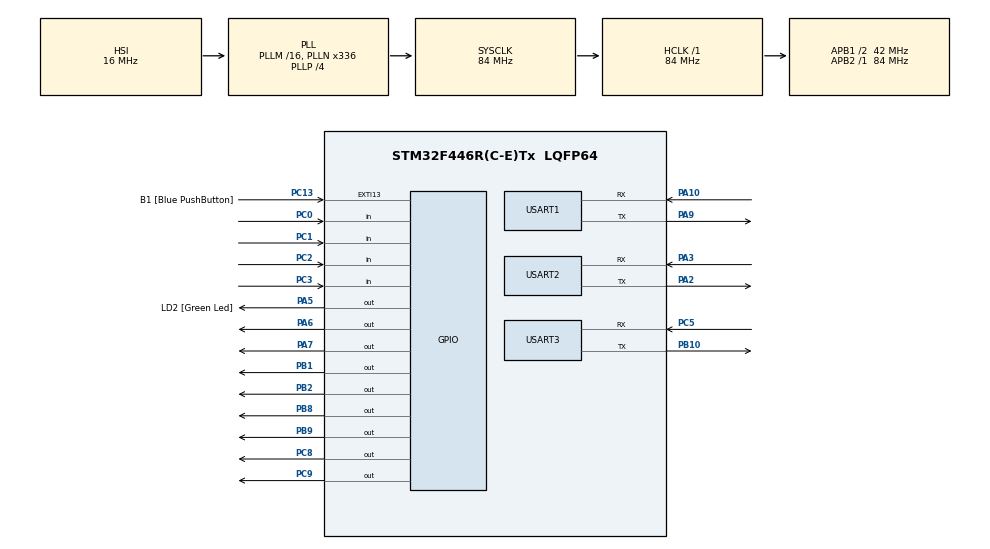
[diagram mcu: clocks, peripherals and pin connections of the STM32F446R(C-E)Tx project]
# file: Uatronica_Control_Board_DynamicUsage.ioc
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Mcu.Family=STM32F4
Mcu.Name=STM32F446R(C-E)Tx
Mcu.Package=LQFP64
NVIC.PriorityGroup=NVIC_PRIORITYGROUP_0
NVIC.USART1_IRQn=true\:0\:0\:false\:false\:true\:true\:true\:true
NVIC.USART2_IRQn=true\:0\:0\:false\:false\:true\:true\:true\:true
NVIC.USART3_IRQn=true\:0\:0\:false\:false\:true\:true\:true\:true
PA10.Mode=Asynchronous
PA10.Signal=USART1_RX
PA13.GPIO_Label=TMS
PA13.Mode=Serial_Wire
PA13.Signal=SYS_JTMS-SWDIO
PA14.GPIO_Label=TCK
PA14.Mode=Serial_Wire
PA14.Signal=SYS_JTCK-SWCLK
PA2.Mode=Asynchronous
PA2.Signal=USART2_TX
PA3.Mode=Asynchronous
PA3.Signal=USART2_RX
PA5.GPIO_Label=LD2 [Green Led]
PA5.Signal=GPIO_Output
PA6.Signal=GPIO_Output
PA7.Signal=GPIO_Output
PA9.Mode=Asynchronous
PA9.Signal=USART1_TX
PB1.Signal=GPIO_Output
PB10.Mode=Asynchronous
PB10.Signal=USART3_TX
PB2.Signal=GPIO_Output
PB3.GPIO_Label=SWO
PB3.Signal=SYS_JTDO-SWO
PB8.Signal=GPIO_Output
PB9.Signal=GPIO_Output
PC0.Signal=GPIO_Input
PC1.Signal=GPIO_Input
PC13.GPIO_Label=B1 [Blue PushButton]
PC13.GPIO_ModeDefaultEXTI=GPIO_MODE_IT_FALLING
PC13.Signal=GPXTI13
PC14-OSC32_IN.Mode=LSE-External-Oscillator
PC14-OSC32_IN.Signal=RCC_OSC32_IN
PC15-OSC32_OUT.Mode=LSE-External-Oscillator
PC15-OSC32_OUT.Signal=RCC_OSC32_OUT
PC2.Signal=GPIO_Input
PC3.Signal=GPIO_Input
PC5.Mode=Asynchronous
PC5.Signal=USART3_RX
PC8.Signal=GPIO_Output
PC9.Signal=GPIO_Output
PH0-OSC_IN.Mode=HSE-External-Oscillator
PH0-OSC_IN.Signal=RCC_OSC_IN
PH1-OSC_OUT.Mode=HSE-External-Oscillator
PH1-OSC_OUT.Signal=RCC_OSC_OUT
ProjectManager.HeapSize=0x200
ProjectManager.StackSize=0x400
ProjectManager.TargetToolchain=STM32CubeIDE
RCC.48MHZClocksFreq_Value=84000000
RCC.AHBFreq_Value=84000000
RCC.APB1CLKDivider=RCC_HCLK_DIV2
RCC.APB1Freq_Value=42000000
RCC.APB1TimFreq_Value=84000000
RCC.APB2Freq_Value=84000000
RCC.APB2TimFreq_Value=84000000
RCC.CortexFreq_Value=84000000
RCC.FLatency-AdvancedSettings=FLASH_LATENCY_2
RCC.HCLKFreq_Value=84000000
RCC.HSE_VALUE=8000000
RCC.HSI_VALUE=16000000
RCC.PLLN=336
RCC.PLLP=RCC_PLLP_DIV4
RCC.SYSCLKFreq_VALUE=84000000
RCC.SYSCLKSource=RCC_SYSCLKSOURCE_PLLCLK
RCC.USBFreq_Value=168000000
RCC.VCOOutputFreq_Value=336000000
USART1.VirtualMode=VM_ASYNC
USART2.VirtualMode=VM_ASYNC
USART3.VirtualMode=VM_ASYNC
board=NUCLEO-F446RE

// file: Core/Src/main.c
/* USER CODE BEGIN Header */
/**
  ******************************************************************************
  * @file           : main.c
  * @brief          : Main program body
  ******************************************************************************
  * @attention
  *
  * Copyright (c) 2025 STMicroelectronics.
  * All rights reserved.
  *
  * This software is licensed under terms that can be found in the LICENSE file
  * in the root directory of this software component.
  * If no LICENSE file comes with this software, it is provided AS-IS.
  *
  ******************************************************************************
  */
/* USER CODE END Header */
#include "main.h"

/* USER CODE BEGIN Includes */
#include <string.h>
#include <stdio.h>
#include <stdlib.h>
#include <stdbool.h>
#include <ctype.h>
/* USER CODE END Includes */

/* USER CODE BEGIN PD */
#define RX_BUFFER_SIZE 100
#define MAX_INPUT_PINS 10
#define MAX_OUTPUT_PINS 10
#define MAX_RESET_PINS 10
#define T_DELAY 100
/* USER CODE END PD */

UART_HandleTypeDef huart1;
UART_HandleTypeDef huart2;
UART_HandleTypeDef huart3;

/* USER CODE BEGIN PV */

// Structure to define an input pin configuration
typedef struct {
    GPIO_TypeDef *port; // Pointer to the GPIO port (e.g., GPIOA, GPIOB, GPIOC)
    uint16_t pin;       // Pin number as a bitmask (e.g., 1 << 0 for PIN_0)
} InputPin;

InputPin input_pins[MAX_INPUT_PINS]; // Array to hold the configurations of input pins
uint8_t num_input_pins = 0;          // Counter to track the number of configured input pins

// Structure to define an output pin configuration
typedef struct {
    GPIO_TypeDef *port; // Pointer to the GPIO port (e.g., GPIOA, GPIOB, GPIOC)
    uint16_t pin;       // Pin number as a bitmask (e.g., 1 << 0 for PIN_0)
} OutputPin;

OutputPin output_pins[MAX_OUTPUT_PINS]; // Array to hold the configurations of output pins
uint8_t num_output_pins = 0;  // Counter to track the number of configured output pins.

// Buffers to store a single character received via UART for USART1, USART2, and USART3
char rx_buffer1[1], rx_buffer2[1], rx_buffer3[1];

// Command buffers to store received commands for each UART instance
char command_buffer1[RX_BUFFER_SIZE], command_buffer2[RX_BUFFER_SIZE], command_buffer3[RX_BUFFER_SIZE];

// Flags to indicate when a complete command has been received for each UART instance
volatile uint8_t command_ready_flag1 = 0, command_ready_flag2 = 0, command_ready_flag3 = 0;

/* USER CODE END PV */

void SystemClock_Config(void);
static void MX_GPIO_Init(void);
static void MX_USART3_UART_Init(void);
static void MX_USART1_UART_Init(void);
static void MX_USART2_UART_Init(void);

/* USER CODE BEGIN PFP */

void HAL_UART_RxCpltCallback(UART_HandleTypeDef *huart); // Callback function triggered when UART receive interrupt is complete.
void configure_input_pins(char *command); // Function to configure GPIO pins as inputs based on the given command string.
void configure_output_pins(UART_HandleTypeDef *huart, char *command); // Function to configure GPIO pins as outputs based on the given command string.
void process_command(char *command, UART_HandleTypeDef *huart); // Function to process a received command and perform the appropriate action.

/* USER CODE END PFP */

/* USER CODE BEGIN 0 */

// NEED TO INCREASE A BETTER PERFOMANCE SPEED!!!

/**
 * @brief UART receive complete callback.
 *
 * This function is called when a UART receive interrupt is triggered. It processes the incoming character,
 * appends it to the appropriate command buffer, and sets the corresponding ready flag when a newline ('\n')
 * or carriage return ('\r') is received, indicating the end of a command.
 *
 * Behavior:
 * - Handles interrupts for USART1, USART2, and USART3 separately.
 * - Adds characters to the appropriate buffer until a complete command is detected.
 * - Resets the buffer index when the buffer overflows or a command is completed.
 * - Re-enables the UART receive interrupt after processing each character.
 *
 * @param huart Pointer to the UART handle that triggered the interrupt.
 */
void HAL_UART_RxCpltCallback(UART_HandleTypeDef *huart)
{
    // Static variables to maintain the buffer indices for each UART
    static uint8_t rx_index1 = 0, rx_index2 = 0, rx_index3 = 0;

    // Check which UART triggered the interrupt
    if (huart->Instance == USART1) {
        // Handle received character for USART1
        char received_char = rx_buffer1[0];
        if (received_char == '\n' || received_char == '\r') {
            // Command complete; null-terminate the buffer and set the ready flag
            command_buffer1[rx_index1] = '\0';
            command_ready_flag1 = 1;
            rx_index1 = 0; // Reset the index for the next command
        } else if (rx_index1 < RX_BUFFER_SIZE - 1) {
            // Append the character to the buffer if there's space
            command_buffer1[rx_index1++] = received_char;
        }
        // Re-enable UART receive interrupt for USART1
        HAL_UART_Receive_IT(&huart1, (uint8_t *)rx_buffer1, 1);

    } else if (huart->Instance == USART2) {
        // Handle received character for USART2
        char received_char = rx_buffer2[0];
        if (received_char == '\n' || received_char == '\r') {
            // Command complete; null-terminate the buffer and set the ready flag
            command_buffer2[rx_index2] = '\0';
            command_ready_flag2 = 1;
            rx_index2 = 0; // Reset the index for the next command
        } else if (rx_index2 < RX_BUFFER_SIZE - 1) {
            // Append the character to the buffer if there's space
            command_buffer2[rx_index2++] = received_char;
        }
        // Re-enable UART receive interrupt for USART2
        HAL_UART_Receive_IT(&huart2, (uint8_t *)rx_buffer2, 1);

    } else if (huart->Instance == USART3) {
        // Handle received character for USART3
        char received_char = rx_buffer3[0];
        if (received_char == '\n' || received_char == '\r') {
            // Command complete; null-terminate the buffer and set the ready flag
            command_buffer3[rx_index3] = '\0';
            command_ready_flag3 = 1;
            rx_index3 = 0; // Reset the index for the next command
        } else if (rx_index3 < RX_BUFFER_SIZE - 1) {
            // Append the character to the buffer if there's space
            command_buffer3[rx_index3++] = received_char;
        }
        // Re-enable UART receive interrupt for USART3
        HAL_UART_Receive_IT(&huart3, (uint8_t *)rx_buffer3, 1);
    }
}

/**
 * @brief Configures GPIO pins for input or output based on the command.
 *
 * This function parses a command string to identify and configure GPIO pins as either input or output.
 * It validates the provided command for the correct format and range of pins. If the command specifies
 * output pins, their state is set accordingly.
 *
 * Function behavior:
 * - For "d <pins>": Configures the specified pins as input.
 * - For "sX <pins>": Configures the pins as output and sets their state based on X ('1' for HIGH, '0' for LOW).
 * - Provides error feedback for invalid commands or pin configurations.
 *
 * Return Values:
 * - `1`: Successfully configured pins.
 * - `-1`: Invalid state provided in the command (e.g., non-'0' or non-'1' for output state).
 * - `-2`: Unrecognized command prefix (neither 'd' nor 's').
 * - `-3`: Invalid port, format, or pin.
 * - `-4`: Invalid pin number (out of range 0-15).
 *
 * @param huart   UART handle for transmitting confirmation or error messages.
 * @param command The command string specifying the operation and pins (e.g., "d PA3 PB5").
 * @return int    Status code indicating the result of the operation.
 */
int configure_pins(UART_HandleTypeDef *huart, char *command)
{
    uint8_t *num_pins = NULL;           // Pointer to track the number of configured pins
    void *pins_array = NULL;            // Pointer to the target pins array
    uint8_t max_pins = 0;               // Maximum pins allowed for the operation
    char state = '\0';                  // State for output pins (used for `s` commands)

    // Determine the type of configuration based on the command prefix
    if (strncmp(command, "d ", 2) == 0) {
        num_pins = &num_input_pins;
        pins_array = input_pins;
        //operation = "Input";
        max_pins = MAX_INPUT_PINS;
        command += 2; // Skip "d " prefix
    } else if (strncmp(command, "s", 1) == 0) {
        num_pins = &num_output_pins;
        pins_array = output_pins;
        //operation = "Output";
        max_pins = MAX_OUTPUT_PINS;
        state = command[1]; // Extract state ('1' or '0')

        // Validate state
        if (state != '1' && state != '0') {
            HAL_UART_Transmit(huart, (uint8_t *)"Invalid State\n", 15, HAL_MAX_DELAY);
            return -1;
        }
        command += 2; // Skip "sX " prefix
    } else {
        // Unknown command
        HAL_UART_Transmit(huart, (uint8_t *)"Unknown Command\n", 17, HAL_MAX_DELAY);
        return -2;
    }

    // Reset the pin list for the operation
    *num_pins = 0;

    // Tokenize the command to extract pin configurations
    char *token = strtok(command, " ");
    while (token && *num_pins < max_pins) {
        // Validate port and pin format
        if ((strncmp(token, "PA", 2) != 0 && strncmp(token, "PB", 2) != 0 && strncmp(token, "PC", 2) != 0) ||
            strlen(token) < 3 || strlen(token) > 4) {
            HAL_UART_Transmit(huart, (uint8_t *)"Invalid Port or Format\n", 24, HAL_MAX_DELAY);
            return -3;
        }

        // Extract port
        GPIO_TypeDef *port = NULL;
        if (strncmp(token, "PA", 2) == 0) {
            port = GPIOA;
        } else if (strncmp(token, "PB", 2) == 0) {
            port = GPIOB;
        } else if (strncmp(token, "PC", 2) == 0) {
            port = GPIOC;
        }

        // Validate pin number (digits only)
        char *pin_str = token + 2; // Skip "PA", "PB", or "PC"
        for (char *c = pin_str; *c; c++) {
            if (!isdigit(*c)) {
                HAL_UART_Transmit(huart, (uint8_t *)"Invalid Pin Format\n", 20, HAL_MAX_DELAY);
                return -3;
            }
        }

        // Convert pin number to integer and validate range
        uint8_t pin_number = atoi(pin_str);
        if (pin_number > 15) {
            HAL_UART_Transmit(huart, (uint8_t *)"Invalid Pin Number\n", 20, HAL_MAX_DELAY);
            return -4;
        }

        // Add the pin to the respective array
        if (port) {
            ((InputPin *)pins_array)[*num_pins].port = port;
            ((InputPin *)pins_array)[*num_pins].pin = 1 << pin_number;
            (*num_pins)++;
        }

        token = strtok(NULL, " ");
    }

    // Send confirmation message
    /*char confirmation_msg[50];
    snprintf(confirmation_msg, sizeof(confirmation_msg), "%s Pins Configured\n", operation);
    HAL_UART_Transmit(huart, (uint8_t *)confirmation_msg, strlen(confirmation_msg), HAL_MAX_DELAY);
    */
    return 1;
}

/**
 * @brief Handles the input pins and sends their states via UART.
 *
 * This function iterates through all configured input pins, reads their current
 * states (SET or RESET), and sends a formatted message for each pin through UART.
 * It dynamically determines the port name (PA, PB, or PC) and includes it in the
 * response for clarity.
 *
 * Function behavior:
 * - Iterates through the `input_pins` array.
 * - Reads the state of each input pin using `HAL_GPIO_ReadPin`.
 * - Dynamically determines the port name based on the `port` pointer in the `input_pins` array.
 * - Formats a response string with the pin's port, number, and state (SET or RESET).
 * - Sends the response via UART using the provided UART handle.
 *
 * @param huart UART handle used for transmitting the response messages.
 */
void handle_inputs(UART_HandleTypeDef *huart)
{
    // Iterate through all configured input pins, excluding the last pin (to avoid out-of-bounds access)
    for (uint8_t i = 0; i < num_input_pins - 1; i++) {
        // Read the current states of two consecutive input pins
        GPIO_PinState state = HAL_GPIO_ReadPin(input_pins[i].port, input_pins[i].pin);
        GPIO_PinState state_2 = HAL_GPIO_ReadPin(input_pins[i + 1].port, input_pins[i + 1].pin);
       // char response[30];
       // char response_2[30];

        // Evaluate the combined state of the two pins and transmit the result
        if (state == GPIO_PIN_SET) {
            if (state_2 == GPIO_PIN_SET) {
                HAL_UART_Transmit(huart, (uint8_t *)"3", 1, T_DELAY);
            } else if (state_2 == GPIO_PIN_RESET) {
                HAL_UART_Transmit(huart, (uint8_t *)"2", 1, T_DELAY);
            }
        } else if (state == GPIO_PIN_RESET) {
            if (state_2 == GPIO_PIN_SET) {
                HAL_UART_Transmit(huart, (uint8_t *)"1", 1, T_DELAY);
            } else if (state_2 == GPIO_PIN_RESET) {
                HAL_UART_Transmit(huart, (uint8_t *)"0", 1, T_DELAY);
            }
        }
    }
}

/**
 * @brief Sets the state of all configured output pins and provides feedback via UART.
 *
 * This function iterates through the list of configured output pins, sets each pin to the
 * specified state (high or low), and counts the number of pins updated. After processing,
 * it transmits a confirmation message via UART, including the number of pins affected and
 * their new state.
 *
 * Function behavior:
 * - Iterates through the `output_pins` array and sets each pin's state based on the `state` parameter.
 * - Counts the total number of pins successfully updated.
 * - Constructs and transmits a message indicating the count of updated pins and their state.
 *
 * Feedback:
 * - Sends a confirmation message in the format: "<number> State Set - <HIGH/LOW>\n".
 * - The state is derived from the `state` parameter ('1' for HIGH, '0' for LOW).
 *
 * @param huart UART handle used for transmitting confirmation messages.
 * @param state The desired state for the output pins ('1' for high, '0' for low).
 */
void set_output(UART_HandleTypeDef *huart, char state)
{
    int counter = 0;                // Counter to track the number of configured pins
    //char message[50];               // Buffer to hold the UART message

    // Iterate through all configured output pins
    for (uint8_t i = 0; i < num_output_pins; i++) {
        // Retrieve the port and pin configuration for the current output pin
        GPIO_TypeDef *port = output_pins[i].port;
        uint16_t gpio_pin = output_pins[i].pin;

        // Set the pin state based on the provided state value
        if (state == '1') {
            // Set the pin to HIGH
            HAL_GPIO_WritePin(port, gpio_pin, GPIO_PIN_SET);
            counter++; // Increment the counter for successfully configured pins
        } else if (state == '0') {
            // Set the pin to LOW
            HAL_GPIO_WritePin(port, gpio_pin, GPIO_PIN_RESET);
            counter++; // Increment the counter for successfully configured pins
        }
    }

    // Construct the message with the counter and state
    // Transmit the constructed message via UART
    HAL_UART_Transmit(huart, (uint8_t *)"OK\n", 3, T_DELAY);
}

/**
 * @brief Processes and executes commands for GPIO pin configuration and control.
 *
 * This function interprets a received command string and performs actions such as
 * configuring GPIO pins as inputs or outputs, setting the state of output pins,
 * or resetting specific pins. It also validates the input and provides feedback
 * for invalid commands or configurations.
 *
 * Function behavior:
 * - Commands starting with 'd': Configures up to two input pins and processes their states.
 * - Commands starting with 's': Configures output pins, sets their states (high or low),
 *   and provides feedback on the number of pins configured.
 * - Commands with invalid formats or exceeding limits are rejected with appropriate error messages.
 * - Unrecognized commands return an "Unknown Command" message.
 *
 * Command validation:
 * - Ensures proper syntax, valid pin numbers, and acceptable command length for each type.
 * - Rejects malformed commands early to avoid unnecessary processing.
 *
 * @param command The command string received via UART, specifying the action and pins.
 * @param huart   UART handle used for transmitting confirmation, error, or status messages.
 */
void process_command(char *command, UART_HandleTypeDef *huart)
{
    // Check if the command is for configuring input pins (starts with 'd')
	if (strncmp(command, "d", 1) == 0) {
	    // Validate command length to ensure only 2 pins are being configured
	    if (strlen(command) < 9 || strlen(command) > 11) {
	        // If the command length is invalid, send an error message and exit
	        HAL_UART_Transmit(huart, (uint8_t *)"NOK\n", 4, T_DELAY);
	        return; // Exit without further processing
	    }

	    // Attempt to configure the input pins
	    int result_handle = configure_pins(huart, command);
	    if (result_handle == 1) {
	        // If configuration is successful, acknowledge with "OK"
	        //HAL_UART_Transmit(huart, (uint8_t *)"OK\n", 3, T_DELAY);
	        // Process and report the state of input pins
	        handle_inputs(huart);
	    } else if (result_handle < 0) {
	        // If configuration failed, send a "NOK" error message
	        HAL_UART_Transmit(huart, (uint8_t *)"NOK\n", 4, T_DELAY);
	    }

	}
    // Check if the command is for configuring output pins (starts with 's')
	else if (strncmp(command, "s", 1) == 0) {
    	// Attempt to configure the output pins
    	int result_set = configure_pins(huart, command);
    	if (result_set == 1) {
            // If configuration is successful, acknowledge with "OK"
            // HAL_UART_Transmit(huart, (uint8_t *)"OK\n", 3, HAL_MAX_DELAY);
    	} else if (result_set < 0) {
            // If configuration failed, send a "NOK" error message and exit
            HAL_UART_Transmit(huart, (uint8_t *)"NOK\n", 4, HAL_MAX_DELAY);
            return; // Exit without setting the output state
    	}

		// Extract the desired state ('1' for HIGH or '0' for LOW) from the command
		char state = command[1];
		// Apply the state to all configured output pins
		set_output(huart, state);

    }
	// Check if the command is for resetting all pins (starts with 'r')
	else if (strncmp(command, "r *", 3) == 0){

    	GPIOA->ODR = 0x00; // Reset PortA
    	GPIOB->ODR = 0x00; // Reset PortB
    	GPIOC->ODR = 0x00; // Reset PortC

    	// Confirmation message that all pins have been configured
    	HAL_UART_Transmit(huart, (uint8_t *)"OK\n", 3, T_DELAY);
    }
    // If the command does not match 'd' or 's', it is unrecognized
    else {
        // Send an error message indicating the command is unknown
        HAL_UART_Transmit(huart, (uint8_t *)"Unknown Command\n", 17, T_DELAY);
    }
}

/* USER CODE END 0 */

int main(void)
{

  /* MCU Configuration--------------------------------------------------------*/

  /* Reset of all peripherals, Initializes the Flash interface and the Systick. */
  HAL_Init();

  /* Configure the system clock */
  SystemClock_Config();

  /* Initialize all configured peripherals */
  MX_GPIO_Init();
  MX_USART3_UART_Init();
  MX_USART1_UART_Init();
  MX_USART2_UART_Init();

  /* USER CODE BEGIN 2 */

  // Initialize UART reception for USART1, USART2, and USART3 using interrupt mode.
  // This enables the system to receive data asynchronously for each UART.
  HAL_UART_Receive_IT(&huart1, (uint8_t *)rx_buffer1, 1); // Start receiving on USART1
  HAL_UART_Receive_IT(&huart2, (uint8_t *)rx_buffer2, 1); // Start receiving on USART2
  HAL_UART_Receive_IT(&huart3, (uint8_t *)rx_buffer3, 1); // Start receiving on USART3

  /* USER CODE END 2 */

  /* Infinite loop */
  while (1)
  {
      // Process command for USART1 if the ready flag is set
      if (command_ready_flag1) {
          process_command(command_buffer1, &huart1); // Process the command
          command_ready_flag1 = 0; // Reset the flag after processing
      }

      // Process command for USART2 if the ready flag is set
      if (command_ready_flag2) {
          process_command(command_buffer2, &huart2); // Process the command
          command_ready_flag2 = 0; // Reset the flag after processing
      }

      // Process command for USART3 if the ready flag is set
      if (command_ready_flag3) {
          process_command(command_buffer3, &huart3); // Process the command
          command_ready_flag3 = 0; // Reset the flag after processing
      }
  }
}

void SystemClock_Config(void)
{
  RCC_OscInitTypeDef RCC_OscInitStruct = {0};
  RCC_ClkInitTypeDef RCC_ClkInitStruct = {0};

  /** Configure the main internal regulator output voltage
  */
  __HAL_RCC_PWR_CLK_ENABLE();
  __HAL_PWR_VOLTAGESCALING_CONFIG(PWR_REGULATOR_VOLTAGE_SCALE3);

  /** Initializes the RCC Oscillators according to the specified parameters
  * in the RCC_OscInitTypeDef structure.
  */
  RCC_OscInitStruct.OscillatorType = RCC_OSCILLATORTYPE_HSI;
  RCC_OscInitStruct.HSIState = RCC_HSI_ON;
  RCC_OscInitStruct.HSICalibrationValue = RCC_HSICALIBRATION_DEFAULT;
  RCC_OscInitStruct.PLL.PLLState = RCC_PLL_ON;
  RCC_OscInitStruct.PLL.PLLSource = RCC_PLLSOURCE_HSI;
  RCC_OscInitStruct.PLL.PLLM = 16;
  RCC_OscInitStruct.PLL.PLLN = 336;
  RCC_OscInitStruct.PLL.PLLP = RCC_PLLP_DIV4;
  RCC_OscInitStruct.PLL.PLLQ = 2;
  RCC_OscInitStruct.PLL.PLLR = 2;
  if (HAL_RCC_OscConfig(&RCC_OscInitStruct) != HAL_OK)
  {
    Error_Handler();
  }

  /** Initializes the CPU, AHB and APB buses clocks
  */
  RCC_ClkInitStruct.ClockType = RCC_CLOCKTYPE_HCLK|RCC_CLOCKTYPE_SYSCLK
                              |RCC_CLOCKTYPE_PCLK1|RCC_CLOCKTYPE_PCLK2;
  RCC_ClkInitStruct.SYSCLKSource = RCC_SYSCLKSOURCE_PLLCLK;
  RCC_ClkInitStruct.AHBCLKDivider = RCC_SYSCLK_DIV1;
  RCC_ClkInitStruct.APB1CLKDivider = RCC_HCLK_DIV2;
  RCC_ClkInitStruct.APB2CLKDivider = RCC_HCLK_DIV1;

  if (HAL_RCC_ClockConfig(&RCC_ClkInitStruct, FLASH_LATENCY_2) != HAL_OK)
  {
    Error_Handler();
  }
}

static void MX_USART1_UART_Init(void)
{

  huart1.Instance = USART1;
  huart1.Init.BaudRate = 115200;
  huart1.Init.WordLength = UART_WORDLENGTH_8B;
  huart1.Init.StopBits = UART_STOPBITS_1;
  huart1.Init.Parity = UART_PARITY_NONE;
  huart1.Init.Mode = UART_MODE_TX_RX;
  huart1.Init.HwFlowCtl = UART_HWCONTROL_NONE;
  huart1.Init.OverSampling = UART_OVERSAMPLING_16;
  if (HAL_UART_Init(&huart1) != HAL_OK)
  {
    Error_Handler();
  }

}

static void MX_USART2_UART_Init(void)
{

  huart2.Instance = USART2;
  huart2.Init.BaudRate = 115200;
  huart2.Init.WordLength = UART_WORDLENGTH_8B;
  huart2.Init.StopBits = UART_STOPBITS_1;
  huart2.Init.Parity = UART_PARITY_NONE;
  huart2.Init.Mode = UART_MODE_TX_RX;
  huart2.Init.HwFlowCtl = UART_HWCONTROL_NONE;
  huart2.Init.OverSampling = UART_OVERSAMPLING_16;
  if (HAL_UART_Init(&huart2) != HAL_OK)
  {
    Error_Handler();
  }

}

static void MX_USART3_UART_Init(void)
{

  huart3.Instance = USART3;
  huart3.Init.BaudRate = 115200;
  huart3.Init.WordLength = UART_WORDLENGTH_8B;
  huart3.Init.StopBits = UART_STOPBITS_1;
  huart3.Init.Parity = UART_PARITY_NONE;
  huart3.Init.Mode = UART_MODE_TX_RX;
  huart3.Init.HwFlowCtl = UART_HWCONTROL_NONE;
  huart3.Init.OverSampling = UART_OVERSAMPLING_16;
  if (HAL_UART_Init(&huart3) != HAL_OK)
  {
    Error_Handler();
  }

}

static void MX_GPIO_Init(void)
{
  GPIO_InitTypeDef GPIO_InitStruct = {0};

  /* GPIO Ports Clock Enable */
  __HAL_RCC_GPIOC_CLK_ENABLE();
  __HAL_RCC_GPIOH_CLK_ENABLE();
  __HAL_RCC_GPIOA_CLK_ENABLE();
  __HAL_RCC_GPIOB_CLK_ENABLE();

  /*Configure GPIO pin Output Level */
  HAL_GPIO_WritePin(GPIOA, LD2_Pin|GPIO_PIN_6|GPIO_PIN_7, GPIO_PIN_RESET);

  /*Configure GPIO pin Output Level */
  HAL_GPIO_WritePin(GPIOB, GPIO_PIN_1|GPIO_PIN_2|GPIO_PIN_8|GPIO_PIN_9, GPIO_PIN_RESET);

  /*Configure GPIO pin Output Level */
  HAL_GPIO_WritePin(GPIOC, GPIO_PIN_8|GPIO_PIN_9, GPIO_PIN_RESET);

  /*Configure GPIO pin : B1_Pin */
  GPIO_InitStruct.Pin = B1_Pin;
  GPIO_InitStruct.Mode = GPIO_MODE_IT_FALLING;
  GPIO_InitStruct.Pull = GPIO_NOPULL;
  HAL_GPIO_Init(B1_GPIO_Port, &GPIO_InitStruct);

  /*Configure GPIO pins : PC0 PC1 PC2 PC3 */
  GPIO_InitStruct.Pin = GPIO_PIN_0|GPIO_PIN_1|GPIO_PIN_2|GPIO_PIN_3;
  GPIO_InitStruct.Mode = GPIO_MODE_INPUT;
  GPIO_InitStruct.Pull = GPIO_NOPULL;
  HAL_GPIO_Init(GPIOC, &GPIO_InitStruct);

  /*Configure GPIO pins : LD2_Pin PA6 PA7 */
  GPIO_InitStruct.Pin = LD2_Pin|GPIO_PIN_6|GPIO_PIN_7;
  GPIO_InitStruct.Mode = GPIO_MODE_OUTPUT_PP;
  GPIO_InitStruct.Pull = GPIO_NOPULL;
  GPIO_InitStruct.Speed = GPIO_SPEED_FREQ_LOW;
  HAL_GPIO_Init(GPIOA, &GPIO_InitStruct);

  /*Configure GPIO pins : PB1 PB2 PB8 PB9 */
  GPIO_InitStruct.Pin = GPIO_PIN_1|GPIO_PIN_2|GPIO_PIN_8|GPIO_PIN_9;
  GPIO_InitStruct.Mode = GPIO_MODE_OUTPUT_PP;
  GPIO_InitStruct.Pull = GPIO_NOPULL;
  GPIO_InitStruct.Speed = GPIO_SPEED_FREQ_LOW;
  HAL_GPIO_Init(GPIOB, &GPIO_InitStruct);

  /*Configure GPIO pins : PC8 PC9 */
  GPIO_InitStruct.Pin = GPIO_PIN_8|GPIO_PIN_9;
  GPIO_InitStruct.Mode = GPIO_MODE_OUTPUT_PP;
  GPIO_InitStruct.Pull = GPIO_NOPULL;
  GPIO_InitStruct.Speed = GPIO_SPEED_FREQ_LOW;
  HAL_GPIO_Init(GPIOC, &GPIO_InitStruct);

}

void Error_Handler(void)
{
  __disable_irq();
  while (1)
  {
  }
}
